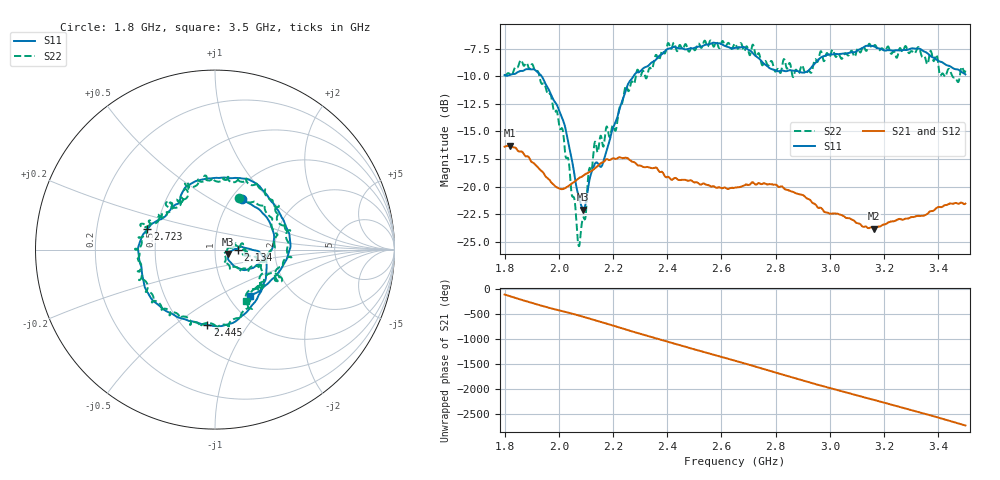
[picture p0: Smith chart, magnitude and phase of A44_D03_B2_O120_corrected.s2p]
! Created with skrf 1.9.0 (http://scikit-rf.org).
# Hz S RI R 50.0
!freq ReS11 ImS11 ReS21 ImS21 ReS12 ImS12 ReS22 ImS22
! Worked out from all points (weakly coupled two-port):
!   1601 points, 1.8 GHz to 3.5 GHz, reference 50 ohm
!   highest |S21| = -16.29 dB at 1.818 GHz (marker M1); lowest = -23.8 dB at 3.163 GHz (marker M2)
!   lowest |S11| = -22.1 dB at 2.09 GHz (marker M3), VSWR 1.17, Z = 58 - j2.88 ohm
!   |S11| at or under -10 dB: 1.936 GHz to 2.276 GHz (339.3 MHz wide, 16.1 % of centre)
!   |S22| runs from -25.4 to -6.8 dB; largest |S21 - S12| = 0.0027
!   S11 on the Smith chart (normalised r, x): 1.8 GHz: 1.12, +0.70; 2.134 GHz: 1.29, -0.01; 2.445 GHz: 0.65, -0.66; 2.723 GHz: 0.44, +0.12; 3.5 GHz: 1.26, -0.72
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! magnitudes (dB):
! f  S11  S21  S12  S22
! 1.8 GHz  -9.9  -16.4  -16.4  -9.9
! 1.818 GHz  -9.9  -16.3  -16.3  -9.8
! 1.903 GHz  -9.4  -17.8  -17.8  -8.9
! 1.968 GHz  -11.5  -19.5  -19.5  -11.6
! 2.015 GHz  -13.9  -20.2  -20.2  -14.9
! 2.072 GHz  -20.8  -19.3  -19.3  -25.3
! 2.084 GHz  -21.8  -19.1  -19.1  -23.5
! 2.09 GHz  -22.1  -19.0  -19.1  -22.8
! 2.134 GHz  -17.9  -18.3  -18.3  -15.9
! 2.162 GHz  -17.9  -17.8  -17.7  -16.3
! 2.209 GHz  -14.2  -17.5  -17.4  -15.0
! 2.26 GHz  -10.5  -17.6  -17.6  -11.3
! 2.367 GHz  -8.3  -18.5  -18.5  -8.5
! 2.445 GHz  -7.5  -19.4  -19.4  -7.2
! 2.65 GHz  -7.4  -20.1  -20.1  -7.0
! 2.723 GHz  -8.1  -19.8  -19.7  -7.8
! 2.803 GHz  -9.5  -19.9  -19.9  -9.5
! 2.934 GHz  -9.2  -21.4  -21.4  -9.6
! 3.163 GHz  -7.3  -23.8  -23.8  -7.2
! 3.217 GHz  -7.6  -23.2  -23.2  -7.4
! 3.468 GHz  -9.4  -21.5  -21.5  -10.4
! 3.5 GHz  -9.8  -21.5  -21.5  -9.5
